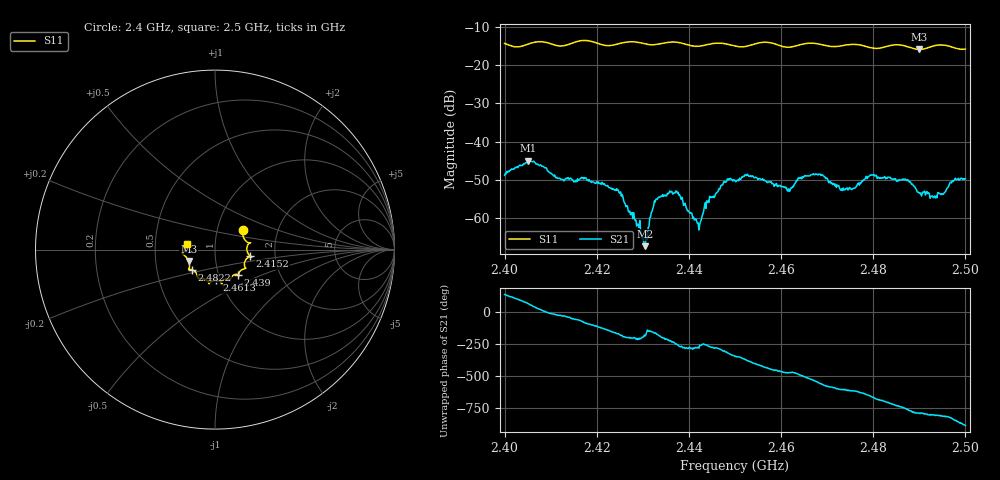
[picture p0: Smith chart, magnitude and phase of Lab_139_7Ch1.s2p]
# Hz S RI R 50
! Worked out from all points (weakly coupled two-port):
!   601 points, 2.4 GHz to 2.5 GHz, reference 50 ohm
!   highest |S21| = -45.01 dB at 2.4052 GHz (marker M1); lowest = -67.3 dB at 2.4305 GHz (marker M2)
!   lowest |S11| = -15.9 dB at 2.49 GHz (marker M3), VSWR 1.38, Z = 36.9 - j4.82 ohm
!   |S11| at or under -10 dB: start of sweep to end of sweep
!   S12 and S22 are empty: the file has one direction only
!   S11 on the Smith chart (normalised r, x): 2.4 GHz: 1.33, +0.31; 2.4152 GHz: 1.48, -0.11; 2.439 GHz: 1.24, -0.36; 2.4613 GHz: 0.96, -0.34; 2.4822 GHz: 0.76, -0.17; 2.5 GHz: 0.72, +0.05
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2.4e9  0.1563 0.1113  -0.00247 0.00265  0 0  0 0
2.405167e9  0.1842 0.0389  0.00274 0.0049  0 0  0 0
2.415167e9  0.1947 -0.0358  0.00151 -0.00263  0 0  0 0
2.416667e9  0.2045 -0.0418  0.000876 -0.00328  0 0  0 0
2.424667e9  0.1648 -0.0924  -0.00231 -0.000332  0 0  0 0
2.4305e9  0.1536 -0.1105  -0.000425 6.87e-05  0 0  0 0
2.432e9  0.1391 -0.1203  -0.00113 -0.00047  0 0  0 0
2.433333e9  0.1327 -0.1324  -0.00186 6.31e-05  0 0  0 0
2.437167e9  0.1354 -0.1461  -0.000636 0.00217  0 0  0 0
2.439e9  0.1281 -0.1391  0.000226 0.00148  0 0  0 0
2.442167e9  0.0972 -0.1468  0.000181 0.000676  0 0  0 0
2.444333e9  0.0852 -0.1662  1.78e-05 0.00161  0 0  0 0
2.45e9  0.0689 -0.1635  0.00307 0.00055  0 0  0 0
2.452667e9  0.041 -0.1721  0.00351 -0.00133  0 0  0 0
2.461333e9  0.00811 -0.1709  -0.00107 -0.00202  0 0  0 0
2.466667e9  -0.0334 -0.1904  -0.00364 -0.000629  0 0  0 0
2.473333e9  -0.0807 -0.1603  -0.000816 0.00215  0 0  0 0
2.482167e9  -0.1282 -0.1119  0.00309 0.00129  0 0  0 0
2.483333e9  -0.1395 -0.1104  0.00334 0.000698  0 0  0 0
2.49e9  -0.1467 -0.0636  0.000702 -0.002  0 0  0 0
2.493333e9  -0.1773 -0.0263  0.000112 -0.00195  0 0  0 0
2.5e9  -0.1587 0.0331  -0.0032 -0.000675  0 0  0 0
